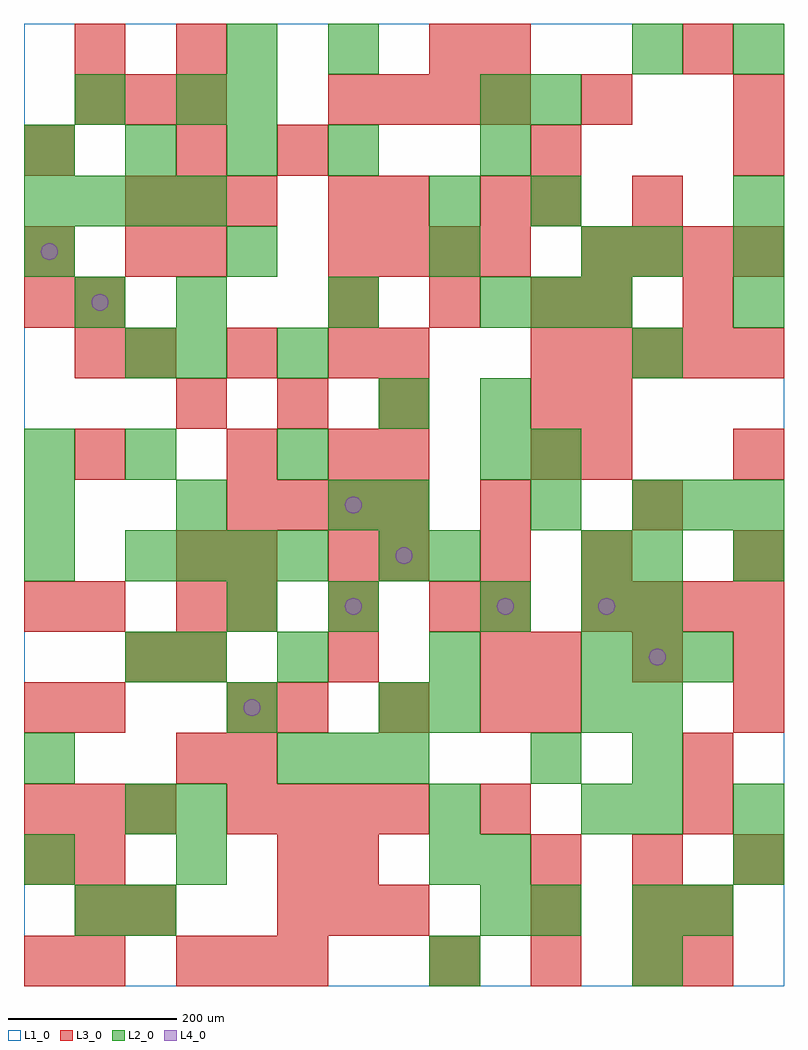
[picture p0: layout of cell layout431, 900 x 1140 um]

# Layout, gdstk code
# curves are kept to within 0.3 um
import gdstk
lib = gdstk.Library(unit=1e-6, precision=1e-09)
def R(c, l, rs):  # rectangles x0, y0, x1, y1
    for r in rs: c.add(gdstk.rectangle(r[:2], r[2:], *l))
def A(c, l, x, y, w, h, nx, ny, dx, dy):  # array of equal rectangles
    R(c, l, [(x+i*dx, y+j*dy, x+i*dx+w, y+j*dy+h) for i in range(nx) for j in range(ny)])
def P(c, l, *ps):  # polygons
    for p in ps: c.add(gdstk.Polygon(p, *l))
L1_0 = (1, 0)
L2_0 = (2, 0)
L3_0 = (3, 0)
L4_0 = (4, 0)

layout431 = lib.new_cell('layout431')
R(layout431, L1_0, [(0,0,900,1140)])
A(layout431, L2_0, 660, 180, 60, 60, 1, 3, 0, 120)
A(layout431, L2_0, 720, 180, 60, 60, 1, 6, 0, 60)
A(layout431, L2_0, 840, 180, 60, 60, 1, 3, 0, 300)
A(layout431, L2_0, 300, 240, 60, 60, 3, 1, 60, 0)
A(layout431, L2_0, 300, 360, 60, 60, 3, 1, 180, 0)
A(layout431, L2_0, 120, 480, 60, 60, 4, 1, 60, 0)
A(layout431, L2_0, 0, 540, 60, 60, 3, 1, 180, 0)
A(layout431, L2_0, 720, 540, 60, 60, 3, 1, 60, 0)
A(layout431, L2_0, 180, 780, 60, 60, 3, 1, 180, 0)
A(layout431, L2_0, 600, 780, 60, 60, 1, 3, 0, 120)
A(layout431, L2_0, 0, 840, 60, 60, 3, 1, 240, 0)
A(layout431, L2_0, 0, 900, 60, 60, 4, 1, 60, 0)
A(layout431, L2_0, 0, 960, 60, 60, 4, 1, 120, 0)
R(layout431, L2_0, [(480,0,540,60), (720,0,780,60), (60,60,120,120), (120,60,180,120), (540,60,600,120), (600,60,660,120), (720,60,780,120), (780,60,840,120), (0,120,60,180), (180,120,240,180), (480,120,540,180), (540,120,600,180), (840,120,900,180), (120,180,180,240), (180,180,240,240), (480,180,540,240), (0,240,60,300), (600,240,660,300), (240,300,300,360), (420,300,480,360), (480,300,540,360), (120,360,180,420), (180,360,240,420), (780,360,840,420), (240,420,300,480), (360,420,420,480), (540,420,600,480), (0,480,60,540), (420,480,480,540), (480,480,540,540), (660,480,720,540), (420,540,480,600), (600,540,660,600), (0,600,60,660), (120,600,180,660), (300,600,360,660), (540,600,600,660), (600,600,660,660), (420,660,480,720), (540,660,600,720), (120,720,180,780), (180,720,240,780), (300,720,360,780), (720,720,780,780), (60,780,120,840), (660,780,720,840), (660,840,720,900), (720,840,780,900), (840,840,900,900), (480,900,540,960), (840,900,900,960), (540,960,600,1020), (60,1020,120,1080), (180,1020,240,1080), (240,1020,300,1080), (540,1020,600,1080), (240,1080,300,1140), (360,1080,420,1140), (720,1080,780,1140), (840,1080,900,1140)])
A(layout431, L3_0, 60, 0, 60, 60, 1, 3, 0, 60)
A(layout431, L3_0, 180, 0, 60, 60, 3, 1, 60, 0)
A(layout431, L3_0, 480, 0, 60, 60, 3, 1, 120, 0)
A(layout431, L3_0, 300, 60, 60, 60, 3, 1, 60, 0)
A(layout431, L3_0, 600, 120, 60, 60, 3, 2, 120, 240)
A(layout431, L3_0, 0, 180, 60, 60, 3, 1, 60, 0)
A(layout431, L3_0, 240, 180, 60, 60, 4, 2, 60, 360)
A(layout431, L3_0, 300, 300, 60, 60, 3, 1, 120, 0)
A(layout431, L3_0, 180, 360, 60, 60, 3, 1, 180, 0)
A(layout431, L3_0, 240, 420, 60, 60, 3, 1, 120, 0)
A(layout431, L3_0, 660, 420, 60, 60, 4, 2, 60, 420)
A(layout431, L3_0, 420, 480, 60, 60, 3, 1, 120, 0)
A(layout431, L3_0, 180, 660, 60, 60, 3, 1, 120, 0)
A(layout431, L3_0, 120, 720, 60, 60, 3, 1, 120, 0)
A(layout431, L3_0, 600, 720, 60, 60, 5, 1, 60, 0)
A(layout431, L3_0, 360, 780, 60, 60, 3, 1, 120, 0)
A(layout431, L3_0, 180, 840, 60, 60, 1, 3, 0, 120)
A(layout431, L3_0, 360, 840, 60, 60, 4, 2, 60, 180)
A(layout431, L3_0, 120, 900, 60, 60, 3, 1, 60, 0)
A(layout431, L3_0, 60, 1020, 60, 60, 3, 1, 60, 0)
R(layout431, L3_0, [(0,0,60,60), (780,0,840,60), (120,60,180,120), (600,60,660,120), (720,60,780,120), (780,60,840,120), (0,120,60,180), (300,120,360,180), (360,120,420,180), (540,180,600,240), (780,180,840,240), (180,240,240,300), (240,240,300,300), (780,240,840,300), (0,300,60,360), (60,300,120,360), (240,300,300,360), (600,300,660,360), (840,300,900,360), (120,360,180,420), (0,420,60,480), (60,420,120,480), (180,420,240,480), (540,420,600,480), (180,480,240,540), (240,480,300,540), (360,480,420,540), (840,480,900,540), (540,540,600,600), (720,540,780,600), (60,600,120,660), (240,600,300,660), (360,600,420,660), (420,600,480,660), (600,600,660,660), (660,600,720,660), (840,600,900,660), (600,660,660,720), (660,660,720,720), (60,720,120,780), (420,720,480,780), (0,780,60,840), (60,780,120,840), (660,780,720,840), (780,780,840,840), (0,840,60,900), (120,840,180,900), (360,900,420,960), (420,900,480,960), (540,900,600,960), (600,900,660,960), (720,900,780,960), (0,960,60,1020), (300,960,360,1020), (600,960,660,1020), (840,960,900,1020), (660,1020,720,1080), (840,1020,900,1080), (60,1080,120,1140), (480,1080,540,1140), (540,1080,600,1140), (780,1080,840,1140)])
P(layout431, L4_0, [(40,870),(39.239,873.827),(37.071,877.071),(33.827,879.239),(30,880),(26.173,879.239),(22.929,877.071),(20.761,873.827),(20,870),(20.761,866.173),(22.929,862.929),(26.173,860.761),(30,860),(33.827,860.761),(37.071,862.929),(39.239,866.173)],
  [(100,810),(99.239,813.827),(97.071,817.071),(93.827,819.239),(90,820),(86.173,819.239),(82.929,817.071),(80.761,813.827),(80,810),(80.761,806.173),(82.929,802.929),(86.173,800.761),(90,800),(93.827,800.761),(97.071,802.929),(99.239,806.173)],
  [(280,330),(279.239,333.827),(277.071,337.071),(273.827,339.239),(270,340),(266.173,339.239),(262.929,337.071),(260.761,333.827),(260,330),(260.761,326.173),(262.929,322.929),(266.173,320.761),(270,320),(273.827,320.761),(277.071,322.929),(279.239,326.173)],
  [(400,450),(399.239,453.827),(397.071,457.071),(393.827,459.239),(390,460),(386.173,459.239),(382.929,457.071),(380.761,453.827),(380,450),(380.761,446.173),(382.929,442.929),(386.173,440.761),(390,440),(393.827,440.761),(397.071,442.929),(399.239,446.173)],
  [(400,570),(399.239,573.827),(397.071,577.071),(393.827,579.239),(390,580),(386.173,579.239),(382.929,577.071),(380.761,573.827),(380,570),(380.761,566.173),(382.929,562.929),(386.173,560.761),(390,560),(393.827,560.761),(397.071,562.929),(399.239,566.173)],
  [(460,510),(459.239,513.827),(457.071,517.071),(453.827,519.239),(450,520),(446.173,519.239),(442.929,517.071),(440.761,513.827),(440,510),(440.761,506.173),(442.929,502.929),(446.173,500.761),(450,500),(453.827,500.761),(457.071,502.929),(459.239,506.173)],
  [(580,450),(579.239,453.827),(577.071,457.071),(573.827,459.239),(570,460),(566.173,459.239),(562.929,457.071),(560.761,453.827),(560,450),(560.761,446.173),(562.929,442.929),(566.173,440.761),(570,440),(573.827,440.761),(577.071,442.929),(579.239,446.173)],
  [(700,450),(699.239,453.827),(697.071,457.071),(693.827,459.239),(690,460),(686.173,459.239),(682.929,457.071),(680.761,453.827),(680,450),(680.761,446.173),(682.929,442.929),(686.173,440.761),(690,440),(693.827,440.761),(697.071,442.929),(699.239,446.173)],
  [(760,390),(759.239,393.827),(757.071,397.071),(753.827,399.239),(750,400),(746.173,399.239),(742.929,397.071),(740.761,393.827),(740,390),(740.761,386.173),(742.929,382.929),(746.173,380.761),(750,380),(753.827,380.761),(757.071,382.929),(759.239,386.173)])

lib.write_gds('layout431.gds')
